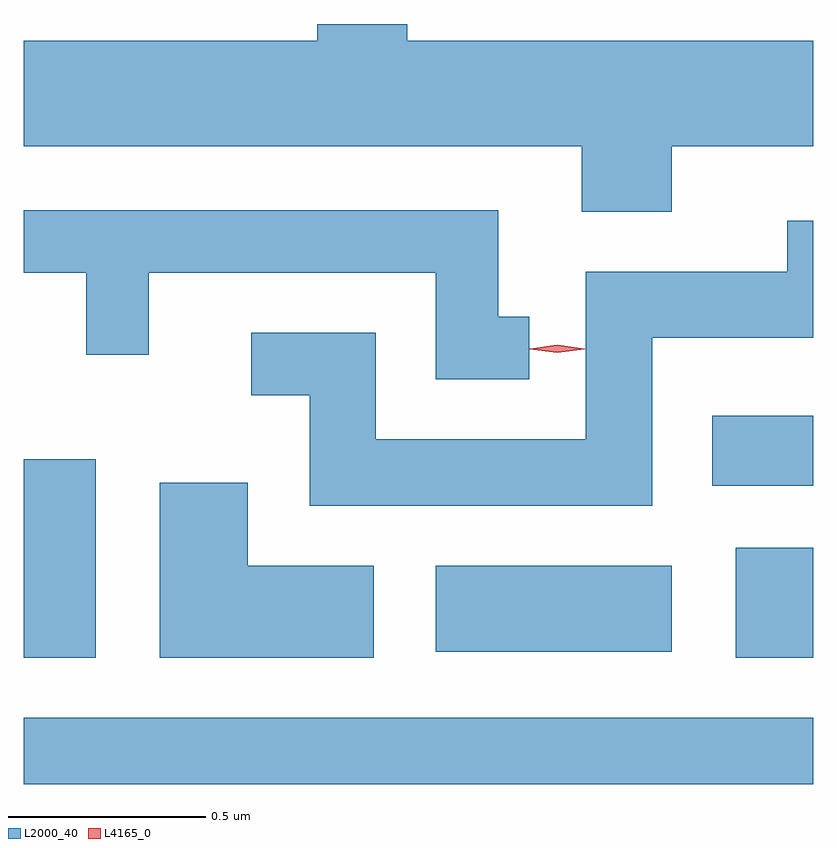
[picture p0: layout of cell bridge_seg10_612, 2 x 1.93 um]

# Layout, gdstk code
import gdstk
lib = gdstk.Library(unit=1e-6, precision=1e-09)
def R(c, l, rs):  # rectangles x0, y0, x1, y1
    for r in rs: c.add(gdstk.rectangle(r[:2], r[2:], *l))
def P(c, l, *ps):  # polygons
    for p in ps: c.add(gdstk.Polygon(p, *l))
L2000_40 = (2000, 40)
L4165_0 = (4165, 0)

bridge_seg10_612 = lib.new_cell('bridge_seg10_612')
R(bridge_seg10_612, L2000_40, [(639.027,2161.141,641.027,2161.309), (639.027,2161.461,639.209,2161.964), (640.831,2161.461,641.027,2161.739), (640.071,2161.476,640.669,2161.694), (640.771,2161.896,641.027,2162.074)])
P(bridge_seg10_612, L2000_40, [(640.669,2162.756),(641.027,2162.756),(641.027,2163.024),(639.999,2163.024),(639.999,2163.066),(639.771,2163.066),(639.771,2163.024),(639.027,2163.024),(639.027,2162.756),(640.441,2162.756),(640.441,2162.591),(640.669,2162.591)],
  [(640.308,2162.324),(640.229,2162.324),(640.229,2162.594),(639.027,2162.594),(639.027,2162.436),(639.186,2162.436),(639.186,2162.228),(639.344,2162.228),(639.344,2162.436),(640.071,2162.436),(640.071,2162.166),(640.308,2162.166)],
  [(640.619,2162.271),(641.027,2162.271),(641.027,2162.568),(640.961,2162.568),(640.961,2162.439),(640.451,2162.439),(640.451,2162.014),(639.919,2162.014),(639.919,2162.284),(639.603,2162.284),(639.603,2162.126),(639.751,2162.126),(639.751,2161.846),(640.619,2161.846)],
  [(639.914,2161.694),(639.594,2161.694),(639.594,2161.904),(639.371,2161.904),(639.371,2161.461),(639.914,2161.461)])
P(bridge_seg10_612, L4165_0, [(640.378,2162.233),(640.309,2162.242),(640.309,2162.243),(640.309,2162.244),(640.378,2162.253),(640.448,2162.244),(640.448,2162.243),(640.448,2162.242)])

lib.write_gds('bridge_seg10_612.gds')
